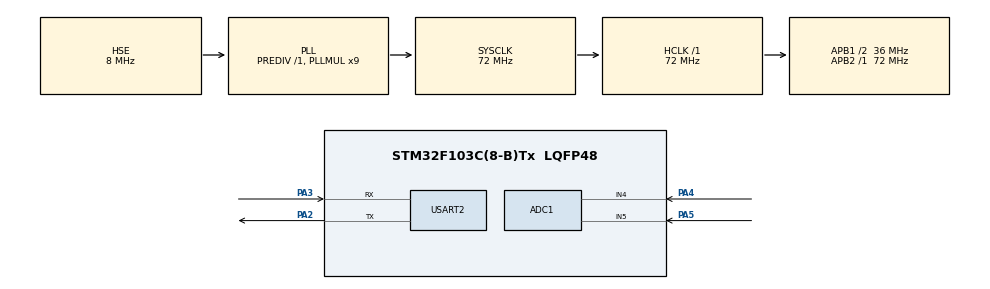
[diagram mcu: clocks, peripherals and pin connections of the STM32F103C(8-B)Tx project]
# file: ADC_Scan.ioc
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ADC1.Channel-0\#ChannelRegularConversion=ADC_CHANNEL_5
ADC1.Channel-1\#ChannelRegularConversion=ADC_CHANNEL_4
ADC1.Channel-2\#ChannelRegularConversion=ADC_CHANNEL_TEMPSENSOR
ADC1.Channel-3\#ChannelRegularConversion=ADC_CHANNEL_VREFINT
ADC1.ContinuousConvMode=ENABLE
ADC1.NbrOfConversion=4
ADC1.NbrOfConversionFlag=1
ADC1.Rank-0\#ChannelRegularConversion=1
ADC1.Rank-1\#ChannelRegularConversion=2
ADC1.Rank-2\#ChannelRegularConversion=3
ADC1.Rank-3\#ChannelRegularConversion=4
ADC1.SamplingTime-0\#ChannelRegularConversion=ADC_SAMPLETIME_71CYCLES_5
ADC1.SamplingTime-1\#ChannelRegularConversion=ADC_SAMPLETIME_71CYCLES_5
ADC1.SamplingTime-2\#ChannelRegularConversion=ADC_SAMPLETIME_71CYCLES_5
ADC1.SamplingTime-3\#ChannelRegularConversion=ADC_SAMPLETIME_71CYCLES_5
ADC1.master=1
Dma.ADC1.0.Direction=DMA_PERIPH_TO_MEMORY
Dma.ADC1.0.Instance=DMA1_Channel1
Dma.ADC1.0.MemDataAlignment=DMA_MDATAALIGN_HALFWORD
Dma.ADC1.0.MemInc=DMA_MINC_ENABLE
Dma.ADC1.0.Mode=DMA_CIRCULAR
Dma.ADC1.0.PeriphDataAlignment=DMA_PDATAALIGN_HALFWORD
Dma.ADC1.0.PeriphInc=DMA_PINC_DISABLE
Dma.ADC1.0.Priority=DMA_PRIORITY_LOW
Dma.Request0=ADC1
Mcu.Family=STM32F1
Mcu.Name=STM32F103C(8-B)Tx
Mcu.Package=LQFP48
NVIC.DMA1_Channel1_IRQn=true\:0\:0\:false\:false\:true\:false\:true\:true
NVIC.PriorityGroup=NVIC_PRIORITYGROUP_4
PA13.Mode=Serial_Wire
PA13.Signal=SYS_JTMS-SWDIO
PA14.Mode=Serial_Wire
PA14.Signal=SYS_JTCK-SWCLK
PA2.Mode=Asynchronous
PA2.Signal=USART2_TX
PA3.Mode=Asynchronous
PA3.Signal=USART2_RX
PA4.Signal=ADCx_IN4
PA5.Signal=ADCx_IN5
PD0-OSC_IN.Mode=HSE-External-Oscillator
PD0-OSC_IN.Signal=RCC_OSC_IN
PD1-OSC_OUT.Mode=HSE-External-Oscillator
PD1-OSC_OUT.Signal=RCC_OSC_OUT
ProjectManager.HeapSize=0x200
ProjectManager.StackSize=0x400
ProjectManager.TargetToolchain=CMake
RCC.ADCPresc=RCC_ADCPCLK2_DIV6
RCC.AHBFreq_Value=72000000
RCC.APB1CLKDivider=RCC_HCLK_DIV2
RCC.APB1Freq_Value=36000000
RCC.APB1TimFreq_Value=72000000
RCC.APB2Freq_Value=72000000
RCC.APB2TimFreq_Value=72000000
RCC.HCLKFreq_Value=72000000
RCC.PLLMUL=RCC_PLL_MUL9
RCC.PLLSourceVirtual=RCC_PLLSOURCE_HSE
RCC.SYSCLKFreq_VALUE=72000000
RCC.SYSCLKSource=RCC_SYSCLKSOURCE_PLLCLK
RCC.USBFreq_Value=72000000
SH.ADCx_IN4.0=ADC1_IN4,IN4
SH.ADCx_IN5.0=ADC1_IN5,IN5
USART2.VirtualMode=VM_ASYNC
VP_ADC1_TempSens_Input.Mode=IN-TempSens
VP_ADC1_Vref_Input.Mode=IN-Vrefint
board=custom

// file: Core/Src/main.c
/* USER CODE BEGIN Header */
/**
  ******************************************************************************
  * @file           : main.c
  * @brief          : Main program body
  ******************************************************************************
  * @attention
  *
  * Copyright (c) 2026 STMicroelectronics.
  * All rights reserved.
  *
  * This software is licensed under terms that can be found in the LICENSE file
  * in the root directory of this software component.
  * If no LICENSE file comes with this software, it is provided AS-IS.
  *
  ******************************************************************************
  */
/* USER CODE END Header */
#include "main.h"

/* USER CODE BEGIN Includes */
#include "stdio.h"   /* 标准输入输出库，用于 sprintf 格式化字符串 */
#include "string.h"  /* 字符串操作库，用于 strlen 获取字符串长度 */
#include "math.h"    /* 数学库，用于 log() 对数运算（NTC 温度计算） */
/* USER CODE END Includes */

ADC_HandleTypeDef hadc1;
DMA_HandleTypeDef hdma_adc1;

UART_HandleTypeDef huart2;

void SystemClock_Config(void);
static void MX_GPIO_Init(void);
static void MX_DMA_Init(void);
static void MX_ADC1_Init(void);
static void MX_USART2_UART_Init(void);

/* USER CODE BEGIN 0 */
uint16_t values[4];      /* DMA 自动存储 4 个通道的 ADC 采样值 */
char message[64] = "";   /* 串口发送缓冲区 */

/* ADC 采样值 → NTC 阻值（Ω） */
float ADC2Resistance(uint32_t adc_value) {
  return (adc_value / (4095.0f - adc_value)) * 10000.0f;
}

/* NTC 阻值（Ω）→ 温度（℃） B=3950, R2(25℃)=10kΩ */
float resistance2Temperature(float R1) {
  float B = 3950.0f;     /* NTC 的 B 值 */
  float R2 = 10000.0f;   /* 25℃ 标称阻值 */
  float T2 = 25.0f;      /* 标称温度 */
  return (1.0 / ((1.0 / B) * log(R1 / R2) + (1.0 / (T2 + 273.15))) - 273.15);
}
/* USER CODE END 0 */

int main(void)
{

  /* MCU Configuration--------------------------------------------------------*/

  /* Reset of all peripherals, Initializes the Flash interface and the Systick. */
  HAL_Init();

  /* Configure the system clock */
  SystemClock_Config();

  /* Initialize all configured peripherals */
  MX_GPIO_Init();
  MX_DMA_Init();
  MX_ADC1_Init();
  MX_USART2_UART_Init();
  /* USER CODE BEGIN 2 */

  HAL_ADCEx_Calibration_Start(&hadc1);                 /* ADC 自动校准，提高采样精度 */
  HAL_ADC_Start_DMA(&hadc1, (uint32_t*)values, sizeof(values) / sizeof(uint16_t)); /* 启动 ADC+DMA，自动扫描 4 个通道存入 values 数组 */

  float NTC_R = 0.0;          /* NTC 热敏电阻阻值（Ω） */
  float temperature = 0.0;    /* 计算出的温度值（℃） */
  /* USER CODE END 2 */

  /* Infinite loop */
  /* USER CODE BEGIN WHILE */
  while (1)
  {
    HAL_Delay(500);                                               /* 每 500ms 采样一次 */
    NTC_R = ADC2Resistance(values[1]);                            /* 取 CH4（values[1]）计算 NTC 阻值 */
    temperature = resistance2Temperature(NTC_R);                  /* 由阻值换算温度 */
    sprintf(message, "阻值：%.2fΩ  温度：%.2f℃", NTC_R, temperature); /* 格式化输出字符串 */
    HAL_UART_Transmit(&huart2, (uint8_t*)message, strlen(message), 1000); /* 串口发送结果 */

    /* USER CODE END WHILE */

  }
}

void SystemClock_Config(void)
{
  RCC_OscInitTypeDef RCC_OscInitStruct = {0};
  RCC_ClkInitTypeDef RCC_ClkInitStruct = {0};
  RCC_PeriphCLKInitTypeDef PeriphClkInit = {0};

  /** Initializes the RCC Oscillators according to the specified parameters
  * in the RCC_OscInitTypeDef structure.
  */
  RCC_OscInitStruct.OscillatorType = RCC_OSCILLATORTYPE_HSE;
  RCC_OscInitStruct.HSEState = RCC_HSE_ON;
  RCC_OscInitStruct.HSEPredivValue = RCC_HSE_PREDIV_DIV1;
  RCC_OscInitStruct.HSIState = RCC_HSI_ON;
  RCC_OscInitStruct.PLL.PLLState = RCC_PLL_ON;
  RCC_OscInitStruct.PLL.PLLSource = RCC_PLLSOURCE_HSE;
  RCC_OscInitStruct.PLL.PLLMUL = RCC_PLL_MUL9;
  if (HAL_RCC_OscConfig(&RCC_OscInitStruct) != HAL_OK)
  {
    Error_Handler();
  }

  /** Initializes the CPU, AHB and APB buses clocks
  */
  RCC_ClkInitStruct.ClockType = RCC_CLOCKTYPE_HCLK|RCC_CLOCKTYPE_SYSCLK
                              |RCC_CLOCKTYPE_PCLK1|RCC_CLOCKTYPE_PCLK2;
  RCC_ClkInitStruct.SYSCLKSource = RCC_SYSCLKSOURCE_PLLCLK;
  RCC_ClkInitStruct.AHBCLKDivider = RCC_SYSCLK_DIV1;
  RCC_ClkInitStruct.APB1CLKDivider = RCC_HCLK_DIV2;
  RCC_ClkInitStruct.APB2CLKDivider = RCC_HCLK_DIV1;

  if (HAL_RCC_ClockConfig(&RCC_ClkInitStruct, FLASH_LATENCY_2) != HAL_OK)
  {
    Error_Handler();
  }
  PeriphClkInit.PeriphClockSelection = RCC_PERIPHCLK_ADC;
  PeriphClkInit.AdcClockSelection = RCC_ADCPCLK2_DIV6;
  if (HAL_RCCEx_PeriphCLKConfig(&PeriphClkInit) != HAL_OK)
  {
    Error_Handler();
  }
}

static void MX_ADC1_Init(void)
{

  ADC_ChannelConfTypeDef sConfig = {0};

  /** Common config
  */
  hadc1.Instance = ADC1;
  hadc1.Init.ScanConvMode = ADC_SCAN_ENABLE;
  hadc1.Init.ContinuousConvMode = ENABLE;
  hadc1.Init.DiscontinuousConvMode = DISABLE;
  hadc1.Init.ExternalTrigConv = ADC_SOFTWARE_START;
  hadc1.Init.DataAlign = ADC_DATAALIGN_RIGHT;
  hadc1.Init.NbrOfConversion = 4;
  if (HAL_ADC_Init(&hadc1) != HAL_OK)
  {
    Error_Handler();
  }

  /** Configure Regular Channel
  */
  sConfig.Channel = ADC_CHANNEL_5;
  sConfig.Rank = ADC_REGULAR_RANK_1;
  sConfig.SamplingTime = ADC_SAMPLETIME_71CYCLES_5;
  if (HAL_ADC_ConfigChannel(&hadc1, &sConfig) != HAL_OK)
  {
    Error_Handler();
  }

  /** Configure Regular Channel
  */
  sConfig.Channel = ADC_CHANNEL_4;
  sConfig.Rank = ADC_REGULAR_RANK_2;
  if (HAL_ADC_ConfigChannel(&hadc1, &sConfig) != HAL_OK)
  {
    Error_Handler();
  }

  /** Configure Regular Channel
  */
  sConfig.Channel = ADC_CHANNEL_TEMPSENSOR;
  sConfig.Rank = ADC_REGULAR_RANK_3;
  if (HAL_ADC_ConfigChannel(&hadc1, &sConfig) != HAL_OK)
  {
    Error_Handler();
  }

  /** Configure Regular Channel
  */
  sConfig.Channel = ADC_CHANNEL_VREFINT;
  sConfig.Rank = ADC_REGULAR_RANK_4;
  if (HAL_ADC_ConfigChannel(&hadc1, &sConfig) != HAL_OK)
  {
    Error_Handler();
  }

}

static void MX_USART2_UART_Init(void)
{

  huart2.Instance = USART2;
  huart2.Init.BaudRate = 115200;
  huart2.Init.WordLength = UART_WORDLENGTH_8B;
  huart2.Init.StopBits = UART_STOPBITS_1;
  huart2.Init.Parity = UART_PARITY_NONE;
  huart2.Init.Mode = UART_MODE_TX_RX;
  huart2.Init.HwFlowCtl = UART_HWCONTROL_NONE;
  huart2.Init.OverSampling = UART_OVERSAMPLING_16;
  if (HAL_UART_Init(&huart2) != HAL_OK)
  {
    Error_Handler();
  }

}

static void MX_DMA_Init(void)
{

  /* DMA controller clock enable */
  __HAL_RCC_DMA1_CLK_ENABLE();

  /* DMA interrupt init */
  /* DMA1_Channel1_IRQn interrupt configuration */
  HAL_NVIC_SetPriority(DMA1_Channel1_IRQn, 0, 0);
  HAL_NVIC_EnableIRQ(DMA1_Channel1_IRQn);

}

static void MX_GPIO_Init(void)
{

  /* GPIO Ports Clock Enable */
  __HAL_RCC_GPIOD_CLK_ENABLE();
  __HAL_RCC_GPIOA_CLK_ENABLE();

}

void Error_Handler(void)
{
  __disable_irq();
  while (1)
  {
  }
}
